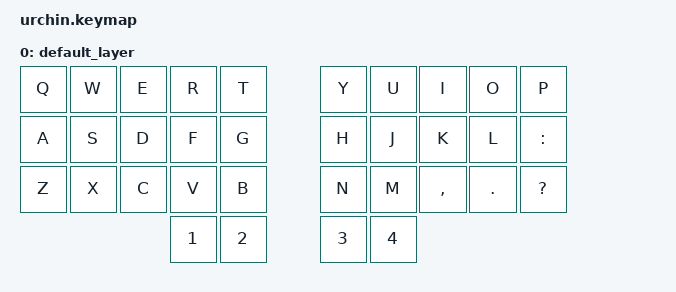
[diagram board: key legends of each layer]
/*
 * Copyright (c) 2020 Duccio Breschi
 *
 * SPDX-License-Identifier: MIT
 */

#include <behaviors.dtsi>
#include <dt-bindings/zmk/keys.h>
#include <dt-bindings/zmk/bt.h>
#include <dt-bindings/zmk/outputs.h>

/ {
    keymap {
        compatible = "zmk,keymap";
        label = "Default";

        // Minimal layout for testing purposes.
        default_layer {
            bindings = <
            &kp Q &kp W &kp E &kp R  &kp T           &kp Y &kp U  &kp I     &kp O   &kp P 
            &kp A &kp S &kp D &kp F  &kp G           &kp H &kp J  &kp K     &kp L &kp COLON
            &kp Z &kp X &kp C &kp V  &kp B           &kp N &kp M  &kp COMMA &kp DOT &kp QMARK
                              &kp N1 &kp N2          &kp N3 &kp N4
            >;
		};        
	};
};
